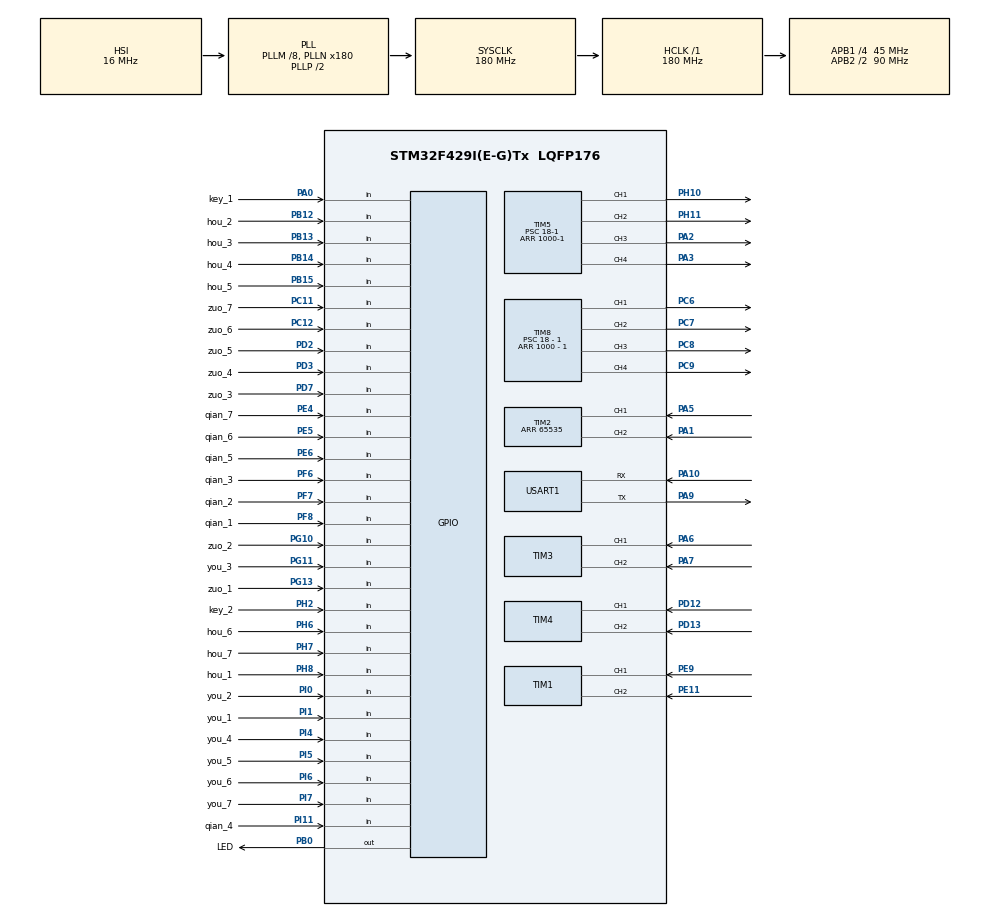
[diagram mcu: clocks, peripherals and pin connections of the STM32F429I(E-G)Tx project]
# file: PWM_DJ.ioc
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Mcu.Family=STM32F4
Mcu.Name=STM32F429I(E-G)Tx
Mcu.Package=LQFP176
NVIC.PriorityGroup=NVIC_PRIORITYGROUP_4
NVIC.TIM1_UP_TIM10_IRQn=true\:0\:0\:false\:false\:true\:true\:true\:true
NVIC.USART1_IRQn=true\:0\:0\:false\:false\:true\:true\:true\:true
PA0/WKUP.GPIO_Label=key_1
PA0/WKUP.Signal=GPIO_Input
PA1.Signal=S_TIM2_CH2
PA10.Mode=Asynchronous
PA10.Signal=USART1_RX
PA13.Mode=Serial_Wire
PA13.Signal=SYS_JTMS-SWDIO
PA14.Mode=Serial_Wire
PA14.Signal=SYS_JTCK-SWCLK
PA2.Signal=S_TIM5_CH3
PA3.Signal=S_TIM5_CH4
PA5.Signal=S_TIM2_CH1_ETR
PA6.Signal=S_TIM3_CH1
PA7.Signal=S_TIM3_CH2
PA9.Mode=Asynchronous
PA9.Signal=USART1_TX
PB0.GPIO_Label=LED
PB0.GPIO_PuPd=GPIO_PULLDOWN
PB0.Signal=GPIO_Output
PB12.GPIO_Label=hou_2
PB12.Signal=GPIO_Input
PB13.GPIO_Label=hou_3
PB13.Signal=GPIO_Input
PB14.GPIO_Label=hou_4
PB14.Signal=GPIO_Input
PB15.GPIO_Label=hou_5
PB15.Signal=GPIO_Input
PC11.GPIO_Label=zuo_7
PC11.Signal=GPIO_Input
PC12.GPIO_Label=zuo_6
PC12.Signal=GPIO_Input
PC14/OSC32_IN.Mode=LSE-External-Oscillator
PC14/OSC32_IN.Signal=RCC_OSC32_IN
PC15/OSC32_OUT.Mode=LSE-External-Oscillator
PC15/OSC32_OUT.Signal=RCC_OSC32_OUT
PC6.Signal=S_TIM8_CH1
PC7.Signal=S_TIM8_CH2
PC8.Signal=S_TIM8_CH3
PC9.Signal=S_TIM8_CH4
PD12.Signal=S_TIM4_CH1
PD13.Signal=S_TIM4_CH2
PD2.GPIO_Label=zuo_5
PD2.Signal=GPIO_Input
PD3.GPIO_Label=zuo_4
PD3.Signal=GPIO_Input
PD7.GPIO_Label=zuo_3
PD7.Signal=GPIO_Input
PE11.Signal=S_TIM1_CH2
PE4.GPIO_Label=qian_7
PE4.Signal=GPIO_Input
PE5.GPIO_Label=qian_6
PE5.Signal=GPIO_Input
PE6.GPIO_Label=qian_5
PE6.Signal=GPIO_Input
PE9.Signal=S_TIM1_CH1
PF6.GPIO_Label=qian_3
PF6.Signal=GPIO_Input
PF7.GPIO_Label=qian_2
PF7.Signal=GPIO_Input
PF8.GPIO_Label=qian_1
PF8.Signal=GPIO_Input
PG10.GPIO_Label=zuo_2
PG10.Signal=GPIO_Input
PG11.GPIO_Label=you_3
PG11.Signal=GPIO_Input
PG13.GPIO_Label=zuo_1
PG13.Signal=GPIO_Input
PH0/OSC_IN.Mode=HSE-External-Oscillator
PH0/OSC_IN.Signal=RCC_OSC_IN
PH1/OSC_OUT.Mode=HSE-External-Oscillator
PH1/OSC_OUT.Signal=RCC_OSC_OUT
PH10.Signal=S_TIM5_CH1
PH11.Signal=S_TIM5_CH2
PH2.GPIO_Label=key_2
PH2.Signal=GPIO_Input
PH6.GPIO_Label=hou_6
PH6.Signal=GPIO_Input
PH7.GPIO_Label=hou_7
PH7.Signal=GPIO_Input
PH8.GPIO_Label=hou_1
PH8.Signal=GPIO_Input
PI0.GPIO_Label=you_2
PI0.Signal=GPIO_Input
PI1.GPIO_Label=you_1
PI1.Signal=GPIO_Input
PI11.GPIO_Label=qian_4
PI11.Signal=GPIO_Input
PI4.GPIO_Label=you_4
PI4.Signal=GPIO_Input
PI5.GPIO_Label=you_5
PI5.Signal=GPIO_Input
PI6.GPIO_Label=you_6
PI6.Signal=GPIO_Input
PI7.GPIO_Label=you_7
PI7.Signal=GPIO_Input
ProjectManager.HeapSize=0x200
ProjectManager.StackSize=0x400
ProjectManager.TargetToolchain=MDK-ARM V5.27
RCC.48MHZClocksFreq_Value=90000000
RCC.AHBFreq_Value=180000000
RCC.APB1CLKDivider=RCC_HCLK_DIV4
RCC.APB1Freq_Value=45000000
RCC.APB1TimFreq_Value=90000000
RCC.APB2CLKDivider=RCC_HCLK_DIV2
RCC.APB2Freq_Value=90000000
RCC.APB2TimFreq_Value=180000000
RCC.CortexFreq_Value=180000000
RCC.HCLKFreq_Value=180000000
RCC.HSE_VALUE=25000000
RCC.HSI_VALUE=16000000
RCC.PLLM=8
RCC.PLLN=180
RCC.SYSCLKFreq_VALUE=180000000
RCC.SYSCLKSource=RCC_SYSCLKSOURCE_PLLCLK
RCC.VCOOutputFreq_Value=360000000
SH.S_TIM1_CH1.0=TIM1_CH1,Encoder_Interface
SH.S_TIM1_CH2.0=TIM1_CH2,Encoder_Interface
SH.S_TIM2_CH1_ETR.0=TIM2_CH1,Encoder_Interface
SH.S_TIM2_CH2.0=TIM2_CH2,Encoder_Interface
SH.S_TIM3_CH1.0=TIM3_CH1,Encoder_Interface
SH.S_TIM3_CH2.0=TIM3_CH2,Encoder_Interface
SH.S_TIM4_CH1.0=TIM4_CH1,Encoder_Interface
SH.S_TIM4_CH2.0=TIM4_CH2,Encoder_Interface
SH.S_TIM5_CH1.0=TIM5_CH1,PWM Generation1 CH1
SH.S_TIM5_CH2.0=TIM5_CH2,PWM Generation2 CH2
SH.S_TIM5_CH3.0=TIM5_CH3,PWM Generation3 CH3
SH.S_TIM5_CH4.0=TIM5_CH4,PWM Generation4 CH4
SH.S_TIM8_CH1.0=TIM8_CH1,PWM Generation1 CH1
SH.S_TIM8_CH2.0=TIM8_CH2,PWM Generation2 CH2
SH.S_TIM8_CH3.0=TIM8_CH3,PWM Generation3 CH3
SH.S_TIM8_CH4.0=TIM8_CH4,PWM Generation4 CH4
TIM10.Period=100-1
TIM10.Prescaler=180-1
TIM2.Period=65535
TIM5.Channel-PWM\ Generation1\ CH1=TIM_CHANNEL_1
TIM5.Channel-PWM\ Generation2\ CH2=TIM_CHANNEL_2
TIM5.Channel-PWM\ Generation3\ CH3=TIM_CHANNEL_3
TIM5.Channel-PWM\ Generation4\ CH4=TIM_CHANNEL_4
TIM5.Period=1000-1
TIM5.Prescaler=18-1
TIM8.Channel-PWM\ Generation1\ CH1=TIM_CHANNEL_1
TIM8.Channel-PWM\ Generation2\ CH2=TIM_CHANNEL_2
TIM8.Channel-PWM\ Generation3\ CH3=TIM_CHANNEL_3
TIM8.Channel-PWM\ Generation4\ CH4=TIM_CHANNEL_4
TIM8.Period=1000 - 1
TIM8.Prescaler=18 - 1
USART1.VirtualMode=VM_ASYNC
VP_TIM10_VS_ClockSourceINT.Mode=Enable_Timer
board=custom

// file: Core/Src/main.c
/* USER CODE BEGIN Header */
/**
 ******************************************************************************
 * @file           : main.c
 * @brief          : Main program body
 ******************************************************************************
 * @attention
 *
 * <h2><center>&copy; Copyright (c) 2022 STMicroelectronics.
 * All rights reserved.</center></h2>
 *
 * This software component is licensed by ST under BSD 3-Clause license,
 * the "License"; You may not use this file except in compliance with the
 * License. You may obtain a copy of the License at:
 *                        opensource.org/licenses/BSD-3-Clause
 *
 ******************************************************************************
 */
/* USER CODE END Header */
#include "main.h"
#include "tim.h"
#include "usart.h"
#include "gpio.h"

/* USER CODE BEGIN Includes */
#include "stdio.h"
/* USER CODE END Includes */

/* USER CODE BEGIN PD */

#define DEACT_SPEED 2.5

/* USER CODE END PD */

/* USER CODE BEGIN PM */
struct Motor
{
    uint16_t Encode;
    int32_t T_duty;
    float T_speed;     //目标速度
    float error_speed; //速度误差
    float real_speed;  //实际速度
    float error_add;   //累计偏差
    float error_last;  //上一次偏差

    float error_prev; //上上一次偏差

} M1, M2, M3, M4;
/* USER CODE END PM */

void SystemClock_Config(void);
/* USER CODE BEGIN PFP */
void Stop(void);

void qianjingezi(uint32_t gezi_num);
void car_run(int32_t LQ, int32_t RQ, int32_t LH, int32_t RL); //左前 右前 左后 右后
void car_control(float x, float y, float w);                  // X轴 Y轴 角速度

void zuozhuan(void);
void youzhuan(void);
void CeJu(void);
/* USER CODE END PFP */

/* USER CODE BEGIN 0 */
enum RUN_FLAG
{
    STPO_FLAG = 0,
    QIANJIN,
    ZUOZHUAN,
    YOUZHUAN,
    HOUTUI
} run_flag;
uint32_t RUN_FLAG = 0;
/* USER CODE END 0 */

int main(void)
{

  /* MCU Configuration--------------------------------------------------------*/

  /* Reset of all peripherals, Initializes the Flash interface and the Systick. */
  HAL_Init();

  /* Configure the system clock */
  SystemClock_Config();

  /* Initialize all configured peripherals */
  MX_GPIO_Init();
  MX_TIM2_Init();
  MX_TIM3_Init();
  MX_TIM5_Init();
  MX_TIM10_Init();
  MX_TIM1_Init();
  MX_TIM4_Init();
  MX_TIM8_Init();
  MX_USART1_UART_Init();
  /* USER CODE BEGIN 2 */
    HAL_TIM_PWM_Start(&htim5, TIM_CHANNEL_3); // M2
    HAL_TIM_PWM_Start(&htim5, TIM_CHANNEL_4);

    HAL_TIM_PWM_Start(&htim8, TIM_CHANNEL_1); // M3
    HAL_TIM_PWM_Start(&htim8, TIM_CHANNEL_2);

    HAL_TIM_PWM_Start(&htim8, TIM_CHANNEL_3); // M4
    HAL_TIM_PWM_Start(&htim8, TIM_CHANNEL_4);

    HAL_TIM_PWM_Start(&htim5, TIM_CHANNEL_1); // M1
    HAL_TIM_PWM_Start(&htim5, TIM_CHANNEL_2);

    HAL_TIM_Encoder_Start(&htim1, TIM_CHANNEL_ALL);
    HAL_TIM_Encoder_Start(&htim2, TIM_CHANNEL_ALL);
    HAL_TIM_Encoder_Start(&htim3, TIM_CHANNEL_ALL);
    HAL_TIM_Encoder_Start(&htim4, TIM_CHANNEL_ALL);

  /* USER CODE END 2 */

  /* Infinite loop */
    while (1)
    {

    /* USER CODE BEGIN 3 */

        // qianjingezi(5);
        HAL_TIM_Base_Start_IT(&htim10);
        car_control(3, 0, 0);

        while (1)
            ;
    }
  /* USER CODE END 3 */
}

void SystemClock_Config(void)
{
  RCC_OscInitTypeDef RCC_OscInitStruct = {0};
  RCC_ClkInitTypeDef RCC_ClkInitStruct = {0};

  /** Configure the main internal regulator output voltage
  */
  __HAL_RCC_PWR_CLK_ENABLE();
  __HAL_PWR_VOLTAGESCALING_CONFIG(PWR_REGULATOR_VOLTAGE_SCALE1);
  /** Initializes the RCC Oscillators according to the specified parameters
  * in the RCC_OscInitTypeDef structure.
  */
  RCC_OscInitStruct.OscillatorType = RCC_OSCILLATORTYPE_HSI;
  RCC_OscInitStruct.HSIState = RCC_HSI_ON;
  RCC_OscInitStruct.HSICalibrationValue = RCC_HSICALIBRATION_DEFAULT;
  RCC_OscInitStruct.PLL.PLLState = RCC_PLL_ON;
  RCC_OscInitStruct.PLL.PLLSource = RCC_PLLSOURCE_HSI;
  RCC_OscInitStruct.PLL.PLLM = 8;
  RCC_OscInitStruct.PLL.PLLN = 180;
  RCC_OscInitStruct.PLL.PLLP = RCC_PLLP_DIV2;
  RCC_OscInitStruct.PLL.PLLQ = 4;
  if (HAL_RCC_OscConfig(&RCC_OscInitStruct) != HAL_OK)
  {
    Error_Handler();
  }
  /** Activate the Over-Drive mode
  */
  if (HAL_PWREx_EnableOverDrive() != HAL_OK)
  {
    Error_Handler();
  }
  /** Initializes the CPU, AHB and APB buses clocks
  */
  RCC_ClkInitStruct.ClockType = RCC_CLOCKTYPE_HCLK|RCC_CLOCKTYPE_SYSCLK
                              |RCC_CLOCKTYPE_PCLK1|RCC_CLOCKTYPE_PCLK2;
  RCC_ClkInitStruct.SYSCLKSource = RCC_SYSCLKSOURCE_PLLCLK;
  RCC_ClkInitStruct.AHBCLKDivider = RCC_SYSCLK_DIV1;
  RCC_ClkInitStruct.APB1CLKDivider = RCC_HCLK_DIV4;
  RCC_ClkInitStruct.APB2CLKDivider = RCC_HCLK_DIV2;

  if (HAL_RCC_ClockConfig(&RCC_ClkInitStruct, FLASH_LATENCY_5) != HAL_OK)
  {
    Error_Handler();
  }
}

/* USER CODE BEGIN 4 */
#include "stdlib.h"

void car_run(int32_t LQ, int32_t RQ, int32_t LH, int32_t RH)
{
    if (LQ >= 0)
    {
        TIM8->CCR1 = LQ; // M3  			前左轮
        TIM8->CCR2 = 0;
    }
    else
    {
        TIM8->CCR1 = 0; // M3  			前左轮
        TIM8->CCR2 = abs(LQ);
    }

    if (RQ >= 0)
    {
        TIM8->CCR3 = 0; // M4  			前右轮
        TIM8->CCR4 = RQ;
    }
    else
    {
        TIM8->CCR3 = abs(RQ); // M4  			前右轮
        TIM8->CCR4 = 0;
    }
    if (LH >= 0)
    {
        TIM5->CCR3 = LH; // M2  			后左轮
        TIM5->CCR4 = 0;
    }
    else
    {
        TIM5->CCR3 = 0; // M2  			后左轮
        TIM5->CCR4 = abs(LH);
    }
    if (RH >= 0)
    {
        TIM5->CCR1 = 0; // M1  			后右轮
        TIM5->CCR2 = RH;
    }
    else
    {
        TIM5->CCR1 = abs(RH); // M1  			后右轮
        TIM5->CCR2 = 0;
    }
}

void car_control(float x, float y, float w)
{
    M3.T_speed = x + y - w;
    M4.T_speed = x - y + w;
    M2.T_speed = x - y - w;
    M1.T_speed = x + y + w;

    car_run(M3.T_speed, M4.T_speed, M2.T_speed, M1.T_speed);
}

void Stop(void)
{
    HAL_TIM_Base_Stop_IT(&htim10);
    run_flag = STPO_FLAG;

    TIM5->CCR1 = 1000;
    TIM5->CCR2 = 1000;
    TIM5->CCR3 = 1000;
    TIM5->CCR4 = 1000;

    TIM8->CCR1 = 1000;
    TIM8->CCR2 = 1000;
    TIM8->CCR3 = 1000;
    TIM8->CCR4 = 1000;
}

uint32_t gezi_flag = 0;
void qianjingezi(uint32_t gezi_num)
{
    HAL_TIM_Base_Start_IT(&htim10);
    run_flag = QIANJIN;
    while (gezi_num)
    {
        HAL_Delay(300);
        gezi_flag = 0;
        while (gezi_flag == 0)
            HAL_Delay(1);
        gezi_num--;
    }
    Stop();
}

uint32_t xuanzhuan_flag = 0;
void zuozhuan()
{
    run_flag = ZUOZHUAN;
    car_control(0, 0, 2.5);
    HAL_Delay(300);
    HAL_TIM_Base_Start_IT(&htim10);
    xuanzhuan_flag = 1;
    while (xuanzhuan_flag == 0)
        HAL_Delay(1);
    HAL_GPIO_TogglePin(LED_GPIO_Port, LED_Pin);
    Stop();
}

void youzhuan()
{
    run_flag = YOUZHUAN;
    car_control(0, 0, -2.5);
    HAL_Delay(300);
    HAL_TIM_Base_Start_IT(&htim10);
    xuanzhuan_flag = 1;
    while (xuanzhuan_flag == 0)
        HAL_Delay(1);
    HAL_GPIO_TogglePin(LED_GPIO_Port, LED_Pin);
    Stop();
}

void Xunji()
{

    //	static uint32_t heixian_flag;
    uint32_t qian[7];
    int32_t qian_num, qian_flag = 0;
    qian[0] = HAL_GPIO_ReadPin(qian_1_GPIO_Port, qian_1_Pin);
    qian[1] = HAL_GPIO_ReadPin(qian_2_GPIO_Port, qian_2_Pin);
    qian[2] = HAL_GPIO_ReadPin(qian_3_GPIO_Port, qian_3_Pin);
    qian[3] = HAL_GPIO_ReadPin(qian_4_GPIO_Port, qian_4_Pin);
    qian[4] = HAL_GPIO_ReadPin(qian_5_GPIO_Port, qian_5_Pin);
    qian[5] = HAL_GPIO_ReadPin(qian_6_GPIO_Port, qian_6_Pin);
    qian[6] = HAL_GPIO_ReadPin(qian_7_GPIO_Port, qian_7_Pin);

    qian_num = qian[0] + qian[1] + qian[2] + qian[3] + qian[4] + qian[5] + qian[6];
    if (qian_num == 1) //如果只有一个循迹在线上
    {
        for (uint8_t i = 0; i <= 6; i++)
        {
            if (qian[i] == 1)
                qian_flag = i; //记录第几个在线上
        }
    }

    uint32_t hou[7];
    int32_t hou_num, hou_flag = 0;
    hou[6] = HAL_GPIO_ReadPin(hou_1_GPIO_Port, hou_1_Pin);
    hou[5] = HAL_GPIO_ReadPin(hou_2_GPIO_Port, hou_2_Pin);
    hou[4] = HAL_GPIO_ReadPin(hou_3_GPIO_Port, hou_3_Pin);
    hou[3] = HAL_GPIO_ReadPin(hou_4_GPIO_Port, hou_4_Pin);
    hou[2] = HAL_GPIO_ReadPin(hou_5_GPIO_Port, hou_5_Pin);
    hou[1] = HAL_GPIO_ReadPin(hou_6_GPIO_Port, hou_6_Pin);
    hou[0] = HAL_GPIO_ReadPin(hou_7_GPIO_Port, hou_7_Pin);

    hou_num = hou[0] + hou[1] + hou[2] + hou[3] + hou[4] + hou[5] + hou[6];
    if (hou_num == 1) //如果只有一个循迹在线上
    {
        for (uint8_t i = 0; i <= 6; i++)
        {
            if (hou[i] == 1)
                hou_flag = i; //记录第几个在线上
        }
    }

    uint32_t zuo[7];
    int32_t zuo_num, zuo_flag = 0;

    zuo[6] = HAL_GPIO_ReadPin(zuo_1_GPIO_Port, zuo_1_Pin);
    zuo[5] = HAL_GPIO_ReadPin(zuo_2_GPIO_Port, zuo_2_Pin);
    zuo[4] = HAL_GPIO_ReadPin(zuo_3_GPIO_Port, zuo_3_Pin);
    zuo[3] = HAL_GPIO_ReadPin(zuo_4_GPIO_Port, zuo_4_Pin);
    zuo[2] = HAL_GPIO_ReadPin(zuo_5_GPIO_Port, zuo_5_Pin);
    zuo[1] = HAL_GPIO_ReadPin(zuo_6_GPIO_Port, zuo_6_Pin);
    zuo[0] = HAL_GPIO_ReadPin(zuo_7_GPIO_Port, zuo_7_Pin);
    zuo_num = zuo[0] + zuo[1] + zuo[2] + zuo[3] + zuo[4] + zuo[5] + zuo[6];
    if (zuo_num == 1) //如果只有一个循迹在线上
    {
        for (uint8_t i = 0; i <= 6; i++)
        {
            if (zuo[i] == 1)
                zuo_flag = i; //记录第几个在线上
        }
    }

    uint32_t you[7];
    int32_t you_num, you_flag = 0;
    you[0] = HAL_GPIO_ReadPin(you_1_GPIO_Port, you_1_Pin);
    you[1] = HAL_GPIO_ReadPin(you_2_GPIO_Port, you_2_Pin);
    you[2] = HAL_GPIO_ReadPin(you_3_GPIO_Port, you_3_Pin);
    you[3] = HAL_GPIO_ReadPin(you_4_GPIO_Port, you_4_Pin);
    you[4] = HAL_GPIO_ReadPin(you_5_GPIO_Port, you_5_Pin);
    you[5] = HAL_GPIO_ReadPin(you_6_GPIO_Port, you_6_Pin);
    you[6] = HAL_GPIO_ReadPin(you_7_GPIO_Port, you_7_Pin);

    you_num = you[0] + you[1] + you[2] + you[3] + you[4] + you[5] + you[6];
    if (you_num == 1) //如果只有一个循迹在线上
    {
        for (uint8_t i = 0; i <= 6; i++)
        {
            if (you[i] == 1)
                you_flag = i; //记录第几个在线上
        }
    }

    if (run_flag == QIANJIN)
    {
        /******************单独前循迹纠偏*******************/

        if (qian[3] == 1)
            car_control(DEACT_SPEED, 0, 0);
        if (qian[2] == 1 && qian[4] == 0)
            car_control(DEACT_SPEED, -0.3, 0.2);
        else if (qian[4] == 1 && qian[2] == 0)
            car_control(DEACT_SPEED, 0.3, -0.2);

        if (qian[1] == 1 && qian[5] == 0)
            car_control(DEACT_SPEED - 0.3, -0.5, 0.3);
        if (qian[5] == 1 && qian[1] == 0)
            car_control(DEACT_SPEED - 0.3, 0.5, -0.3);

        if (qian[0] == 1 && qian[6] == 0)
            car_control(DEACT_SPEED - 0.5, -0.5, 0.54);
        if (qian[6] == 1 && qian[0] == 0)
            car_control(DEACT_SPEED - 0.5, 0.5, -0.4);

        if ((qian[2] == 1 && qian[3] == 1 && qian[4] == 1)) //前后循迹在线上则不纠偏
        {
            car_control(DEACT_SPEED, 0, 0);
        }
        if ((qian[2] == 1 && qian[3] == 1 && qian[4] == 1)) //小车在十字中心处
        {
            gezi_flag = 1;
        }

        /************************************************/

        /******************前后双循迹纠偏*******************/
        //      int32_t y_fix, w_fix, rec_speed;
        //      if (qian_num == 1 && hou_num ==1)
        //      {
        //        if (qian_flag + hou_flag >= 5 && qian_flag + hou_flag <= 7)
        //            y_fix = 0;
        //        if (qian_flag + hou_flag < 5 && qian_flag + hou_flag >= 3)
        //            y_fix = -50;
        //        if (qian_flag + hou_flag > 7 && qian_flag + hou_flag <= 9)
        //            y_fix = 50;
        //        if (qian_flag + hou_flag < 3)
        //            y_fix = 100;
        //        if (qian_flag + hou_flag > 9)
        //            y_fix = -100;
        //
        //        if (qian_num - hou_num == 0)
        //            w_fix = 0;
        //        if (qian_num - hou_num > 0 && qian_num - hou_num <= 2)
        //            w_fix = -50;
        //        if (qian_num - hou_num < 0 && qian_num - hou_num >= -2)
        //            w_fix = 50;
        //        if (qian_num - hou_num > 2)
        //				{
        //            w_fix = -100;
        //						rec_speed = -100;
        //				}
        //        if (qian_num - hou_num < -2)
        //				{
        //            w_fix = 100;
        //						rec_speed = -100;
        //				}
        //        car_control(DEACT_SPEED + rec_speed, y_fix, w_fix);
        //      }
        //      else
        //          car_control(DEACT_SPEED, 0, 0);
        //      if((qian[2] == 1 && qian[3] == 1 && qian[4] == 1) || (hou[2] == 1 && hou[3] == 1 && hou[4] == 1))   //前后循迹在线上则不纠偏
        //      {
        //          car_control(DEACT_SPEED, 0, 0);
        //      }
        //      if((zuo[2] == 1 || zuo[3] == 1 || zuo[4] == 1) && (you[2] == 1 || you[3] == 1 || you[4] == 1))      //小车在十字中心处
        //      {
        //        gezi_flag = 1;
        //      }

        /************************************************/
    }
    else if (run_flag == ZUOZHUAN || run_flag == YOUZHUAN)
    {
        if ((zuo[3] == 1 || zuo[2] == 1) && (you[3] == 1 || you[3] == 1)) //小车与十垂直
        {
            xuanzhuan_flag = 1;
        }
    }
}
#define KP 90
#define KI 125
#define KD 35

void PID()
{
    //计算本次误差
    M1.error_speed = M1.T_speed - M1.real_speed;
    M2.error_speed = M2.T_speed - M2.real_speed;
    M3.error_speed = M3.T_speed - M3.real_speed;
    M4.error_speed = M4.T_speed - M4.real_speed;

    //计算累计误差
    M1.error_add += M1.error_speed;
    M2.error_add += M2.error_speed;
    M3.error_add += M3.error_speed;
    M4.error_add += M4.error_speed;

    /*******************************位置式PID*****************************/
//    M1.T_duty = M1.error_speed * KP + M1.error_add * KI + (M1.error_speed - M1.error_last) * KD;
//    M2.T_duty = M2.error_speed * KP + M2.error_add * KI + (M2.error_speed - M2.error_last) * KD;
//    M3.T_duty = M3.error_speed * KP + M3.error_add * KI + (M3.error_speed - M3.error_last) * KD;
//    M4.T_duty = M4.error_speed * KP + M4.error_add * KI + (M4.error_speed - M4.error_last) * KD;

    /*********************************************************************/

    /*******************************增量式PID*****************************/
	 M1.T_duty += (M1.error_speed - M1.error_last) * KP + M1.error_speed * KI + (M1.error_speed - 2 * M1.error_last + M1.error_prev) * KD;
	 M2.T_duty += (M2.error_speed - M2.error_last) * KP + M2.error_speed * KI + (M2.error_speed - 2 * M2.error_last + M2.error_prev) * KD;
	 M3.T_duty += (M3.error_speed - M3.error_last) * KP + M3.error_speed * KI + (M3.error_speed - 2 * M3.error_last + M3.error_prev) * KD;
	 M4.T_duty += (M4.error_speed - M4.error_last) * KP + M4.error_speed * KI + (M4.error_speed - 2 * M4.error_last + M4.error_prev) * KD;

    /*******************************增量式PID*****************************/

    //将上次误差传递到上上次误差
    M1.error_prev = M1.error_last;
    M2.error_prev = M2.error_last;
    M3.error_prev = M3.error_last;
    M4.error_prev = M4.error_last;

    //将本次误差传递到上次误差
    M1.error_last = M1.error_speed;
    M2.error_last = M2.error_speed;
    M3.error_last = M3.error_speed;
    M4.error_last = M4.error_speed;

    car_run(M3.T_duty, M4.T_duty, M2.T_duty, M1.T_duty);
}

void HAL_TIM_PeriodElapsedCallback(TIM_HandleTypeDef *htim)
{
    if (htim == (&htim10))
    {
        Xunji();
        static uint32_t flag = 0;
        if (flag < 10)
            flag++;
        else
        {
            flag = 0;
            CeJu();
            PID();
        }
    }
}

void CeJu()
{
    M1.Encode = __HAL_TIM_GET_COUNTER(&htim1);
    M2.Encode = __HAL_TIM_GET_COUNTER(&htim2);
    M3.Encode = __HAL_TIM_GET_COUNTER(&htim3);
    M4.Encode = __HAL_TIM_GET_COUNTER(&htim4);

    __HAL_TIM_SET_COUNTER(&htim1, 0);
    __HAL_TIM_SET_COUNTER(&htim2, 0);
    __HAL_TIM_SET_COUNTER(&htim3, 0);
    __HAL_TIM_SET_COUNTER(&htim4, 0);

    if (M1.Encode < 32768)
    {
        M1.real_speed = -M1.Encode / 1340.0 * 6 * 3.14;
    }
    else
    {
        M1.real_speed = -(M1.Encode - 65536) / 1340.0 * 6 * 3.14;
    }

    if (M2.Encode < 32768)
    {
        M2.real_speed = -M2.Encode / 1340.0 * 6 * 3.14;
    }
    else
    {
        M2.real_speed = -(M2.Encode - 65536) / 1340.0 * 6 * 3.14;
    }

    if (M3.Encode < 32768)
    {
        M3.real_speed = M3.Encode / 1340.0 * 6 * 3.14;
    }
    else
    {
        M3.real_speed = (M3.Encode - 65536) / 1340.0 * 6 * 3.14;
    }

    if (M4.Encode < 32768)
    {
        M4.real_speed = -M4.Encode / 1340.0 * 6 * 3.14;
    }
    else
    {
        M4.real_speed = -(M4.Encode - 65536) / 1340.0 * 6 * 3.14;
    }

    printf("SPEED1=%f\r\n", M1.real_speed);
    printf("SPEED2=%f\r\n", M2.real_speed);
    printf("SPEED3=%f\r\n", M3.real_speed);
    printf("SPEED4=%f\r\n", M4.real_speed);
}

/* USER CODE END 4 */

void Error_Handler(void)
{
}

/************************ (C) COPYRIGHT STMicroelectronics *****END OF FILE****/
